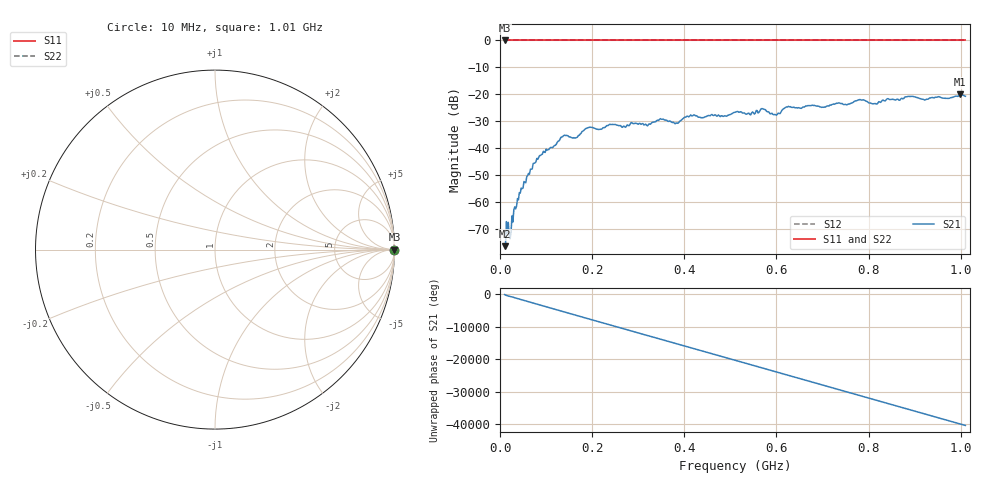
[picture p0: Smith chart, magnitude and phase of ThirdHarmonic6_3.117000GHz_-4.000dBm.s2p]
! 8/17/2025 9:14:19 AM
! C:\ANRITSUVNA\TEMP\TEMP.S2P
! CHANNEL.1
! TR.MEASUREMENT
! RAW.DATA
! RF.CORRECTION.OFF
! AVERAGING.OFF
! IF.BANDWIDTH: 5KHZ
! SWEEPTYPE:  FREQ.SWEEP(Linear)
! Reference Plane Port Info
! PORT:  PORT1  PORT2
! DISTANCE:  0  m  0  m
! TIME:  0  s  0  s
! PHASE.OFFSET:  0  deg.  0  deg.
! LOSS:  0  dB  0  dB
! REF.LOSS:  0  dB  0  dB
! REF.FREQ:  0  Hz  0  Hz
! Power Info
! POWER:  -20  dBm  -20  dBm
! EFF.POWER:  -20  dBm  -20  dBm
! SOURCE.ATTEN:  0  dB  0  dB
! TEST.ATTEN:  0  dB  0  dB
# GHZ S RI R 50.0
! FREQ.GHZ  S11RE  S11IM  S21RE  S21IM  S12RE  S12IM  S22RE  S22IM
!; PortSelection: Port_12
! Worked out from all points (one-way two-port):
!   501 points, 10 MHz to 1.01 GHz, reference 50 ohm
!   highest |S21| = -19.96 dB at 998 MHz (marker M1); lowest = -76.2 dB at 10 MHz (marker M2)
!   lowest |S11| = 0.0 dB at 10 MHz (marker M3)
!   |S11| at or under -10 dB: nowhere
!   |S22| runs from 0.0 to 0.0 dB; largest |S21 - S12| = 1.1
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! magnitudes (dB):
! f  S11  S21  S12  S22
! 10 MHz  0.0  -76.2  0.0  0.0
! 16 MHz  0.0  -71.3  0.0  0.0
! 24 MHz  0.0  -70.9  0.0  0.0
! 30 MHz  0.0  -62.7  0.0  0.0
! 42 MHz  0.0  -56.4  0.0  0.0
! 76 MHz  0.0  -45.3  0.0  0.0
! 136 MHz  0.0  -35.6  0.0  0.0
! 162 MHz  0.0  -36.1  0.0  0.0
! 178 MHz  0.0  -33.7  0.0  0.0
! 344 MHz  0.0  -29.6  0.0  0.0
! 382 MHz  0.0  -30.6  0.0  0.0
! 418 MHz  0.0  -27.9  0.0  0.0
! 510 MHz  0.0  -26.6  0.0  0.0
! 570 MHz  0.0  -25.2  0.0  0.0
! 598 MHz  0.0  -27.5  0.0  0.0
! 622 MHz  0.0  -24.6  0.0  0.0
! 678 MHz  0.0  -23.9  0.0  0.0
! 784 MHz  0.0  -22.1  0.0  0.0
! 814 MHz  0.0  -23.4  0.0  0.0
! 844 MHz  0.0  -21.7  0.0  0.0
! 998 MHz  0.0  -20.0  0.0  0.0
! 1.01 GHz  0.0  -20.7  0.0  0.0
